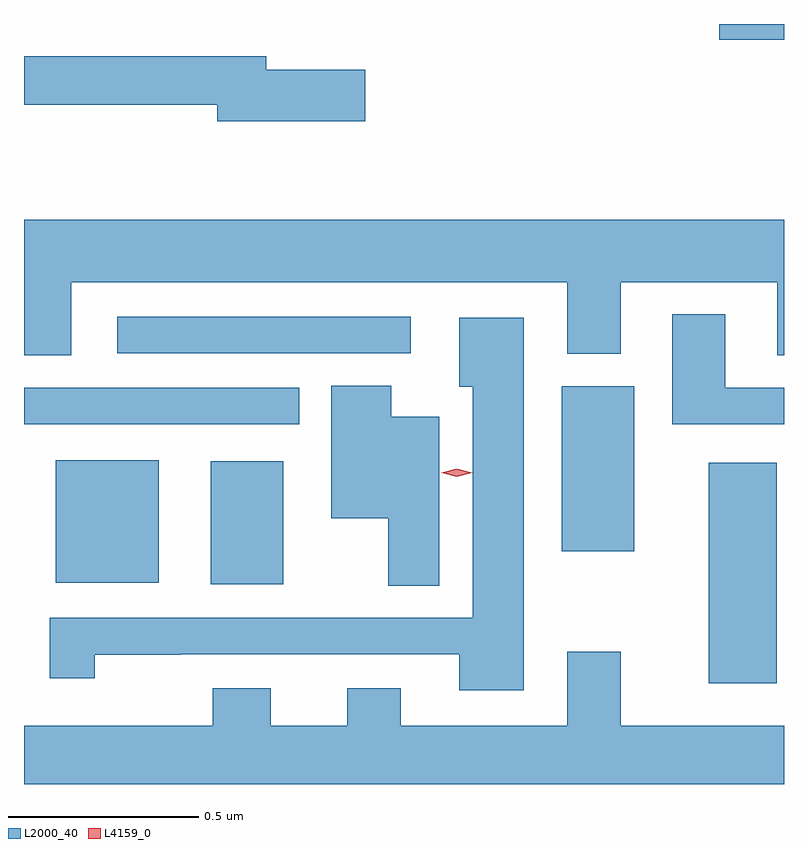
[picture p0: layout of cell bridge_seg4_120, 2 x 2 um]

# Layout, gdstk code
import gdstk
lib = gdstk.Library(unit=1e-6, precision=1e-09)
def R(c, l, rs):  # rectangles x0, y0, x1, y1
    for r in rs: c.add(gdstk.rectangle(r[:2], r[2:], *l))
def P(c, l, *ps):  # polygons
    for p in ps: c.add(gdstk.Polygon(p, *l))
L2000_40 = (2000, 40)
L4159_0 = (4159, 0)

bridge_seg4_120 = lib.new_cell('bridge_seg4_120')
R(bridge_seg4_120, L2000_40, [(354.671,775.784,354.85,776.365), (353.36,776.045,353.551,776.368), (352.952,776.048,353.224,776.371), (354.284,776.132,354.475,776.566), (352.869,776.466,353.593,776.562), (353.115,776.652,353.887,776.748), (354.698,777.477,354.869,777.519)])
P(bridge_seg4_120, L2000_40, [(353.767,777.398),(353.506,777.398),(353.506,777.434),(352.869,777.434),(352.869,777.306),(353.378,777.306),(353.378,777.263),(353.767,777.263)],
  [(352.993,776.84),(354.299,776.84),(354.299,776.651),(354.439,776.651),(354.439,776.84),(354.851,776.84),(354.851,776.647),(354.869,776.647),(354.869,777.004),(352.869,777.004),(352.869,776.647),(352.993,776.647)],
  [(354.869,776.562),(354.715,776.562),(354.715,776.755),(354.575,776.755),(354.575,776.466),(354.869,776.466)],
  [(354.184,776.746),(354.014,776.746),(354.014,776.564),(354.05,776.564),(354.05,775.956),(352.937,775.956),(352.937,775.797),(353.055,775.797),(353.055,775.859),(353.282,775.859),(353.282,775.86),(354.014,775.86),(354.014,775.766),(354.184,775.766)],
  [(353.962,776.485),(353.836,776.485),(353.836,776.567),(353.678,776.567),(353.678,776.219),(353.828,776.219),(353.828,776.041),(353.962,776.041)],
  [(354.869,775.672),(354.439,775.672),(354.439,775.867),(354.299,775.867),(354.299,775.672),(353.86,775.672),(353.86,775.771),(353.72,775.771),(353.72,775.672),(353.518,775.672),(353.518,775.771),(353.366,775.771),(353.366,775.672),(352.869,775.672),(352.869,775.519),(354.869,775.519)])
P(bridge_seg4_120, L4159_0, [(354.008,776.328),(353.967,776.338),(353.967,776.338),(353.967,776.338),(354.008,776.348),(354.048,776.338),(354.049,776.338),(354.048,776.338)])

lib.write_gds('bridge_seg4_120.gds')
